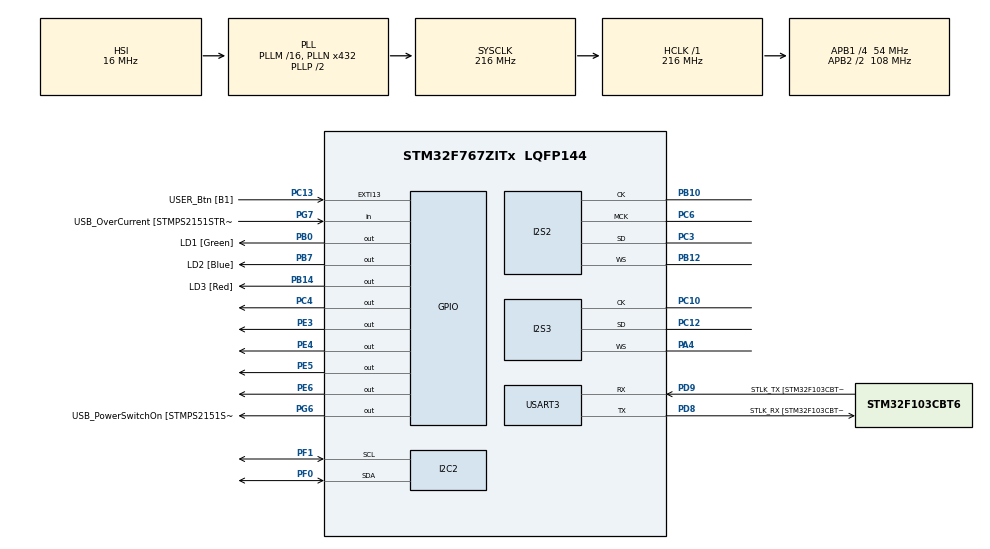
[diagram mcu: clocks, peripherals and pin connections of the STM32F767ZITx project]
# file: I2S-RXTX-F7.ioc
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Dma.Request0=SPI3_TX
Dma.Request1=SPI2_RX
Dma.SPI2_RX.1.Direction=DMA_PERIPH_TO_MEMORY
Dma.SPI2_RX.1.FIFOMode=DMA_FIFOMODE_DISABLE
Dma.SPI2_RX.1.Instance=DMA1_Stream1
Dma.SPI2_RX.1.MemDataAlignment=DMA_MDATAALIGN_HALFWORD
Dma.SPI2_RX.1.MemInc=DMA_MINC_ENABLE
Dma.SPI2_RX.1.Mode=DMA_CIRCULAR
Dma.SPI2_RX.1.PeriphDataAlignment=DMA_PDATAALIGN_HALFWORD
Dma.SPI2_RX.1.PeriphInc=DMA_PINC_DISABLE
Dma.SPI2_RX.1.Priority=DMA_PRIORITY_LOW
Dma.SPI3_TX.0.Direction=DMA_MEMORY_TO_PERIPH
Dma.SPI3_TX.0.FIFOMode=DMA_FIFOMODE_DISABLE
Dma.SPI3_TX.0.Instance=DMA1_Stream5
Dma.SPI3_TX.0.MemDataAlignment=DMA_MDATAALIGN_HALFWORD
Dma.SPI3_TX.0.MemInc=DMA_MINC_ENABLE
Dma.SPI3_TX.0.Mode=DMA_CIRCULAR
Dma.SPI3_TX.0.PeriphDataAlignment=DMA_PDATAALIGN_HALFWORD
Dma.SPI3_TX.0.PeriphInc=DMA_PINC_DISABLE
Dma.SPI3_TX.0.Priority=DMA_PRIORITY_LOW
I2C2.Timing=0x20404768
I2S2.AudioFreq=I2S_AUDIOFREQ_48K
I2S2.DataFormat=I2S_DATAFORMAT_24B
I2S2.ErrorAudioFreq=-0.01 %
I2S2.FullDuplexMode=I2S_FULLDUPLEXMODE_DISABLE
I2S2.Instance=SPI$Index
I2S2.Mode=I2S_MODE_MASTER_RX
I2S2.RealAudioFreq=47.991 KHz
I2S2.VirtualMode=I2S_MODE_MASTER
I2S3.AudioFreq=I2S_AUDIOFREQ_48K
I2S3.DataFormat=I2S_DATAFORMAT_24B
I2S3.ErrorAudioFreq=-0.01 %
I2S3.FullDuplexMode=I2S_FULLDUPLEXMODE_DISABLE
I2S3.Instance=SPI$Index
I2S3.RealAudioFreq=47.991 KHz
I2S3.VirtualMode=I2S_MODE_SLAVE
Mcu.Family=STM32F7
Mcu.Name=STM32F767ZITx
Mcu.Package=LQFP144
NVIC.DMA1_Stream1_IRQn=true\:0\:0\:false\:false\:true\:false\:true
NVIC.DMA1_Stream5_IRQn=true\:0\:0\:false\:false\:true\:false\:true
NVIC.EXTI15_10_IRQn=true\:0\:0\:false\:false\:true\:true\:true
NVIC.PriorityGroup=NVIC_PRIORITYGROUP_4
PA10.GPIO_Label=USB_ID
PA10.Signal=USB_OTG_FS_ID
PA11.GPIO_Label=USB_DM
PA11.Signal=USB_OTG_FS_DM
PA12.GPIO_Label=USB_DP
PA12.Signal=USB_OTG_FS_DP
PA13.GPIO_Label=TMS
PA13.Signal=SYS_JTMS-SWDIO
PA14.GPIO_Label=TCK
PA14.Signal=SYS_JTCK-SWCLK
PA4.Mode=Half_Duplex_Slave
PA4.Signal=I2S3_WS
PA8.GPIO_Label=USB_SOF [TP1]
PA8.Signal=USB_OTG_FS_SOF
PA9.GPIO_Label=USB_VBUS
PA9.Signal=USB_OTG_FS_VBUS
PB0.GPIO_Label=LD1 [Green]
PB0.Signal=GPIO_Output
PB10.Mode=Half_Duplex_Master
PB10.Signal=I2S2_CK
PB12.Mode=Half_Duplex_Master
PB12.Signal=I2S2_WS
PB14.GPIO_Label=LD3 [Red]
PB14.Signal=GPIO_Output
PB3.GPIO_Label=SW0
PB3.Signal=SYS_JTDO-SWO
PB7.GPIO_Label=LD2 [Blue]
PB7.Signal=GPIO_Output
PC10.Mode=Half_Duplex_Slave
PC10.Signal=I2S3_CK
PC12.Mode=Half_Duplex_Slave
PC12.Signal=I2S3_SD
PC13.GPIO_Label=USER_Btn [B1]
PC13.Signal=GPXTI13
PC14/OSC32_IN.Signal=RCC_OSC32_IN
PC15/OSC32_OUT.Signal=RCC_OSC32_OUT
PC3.Mode=Half_Duplex_Master
PC3.Signal=I2S2_SD
PC4.Signal=GPIO_Output
PC6.Mode=Master_Clock_Activated
PC6.Signal=I2S2_MCK
PD8.GPIO_Label=STLK_RX [STM32F103CBT6_PA3]
PD8.Mode=Asynchronous
PD8.Signal=USART3_TX
PD9.GPIO_Label=STLK_TX [STM32F103CBT6_PA2]
PD9.Mode=Asynchronous
PD9.Signal=USART3_RX
PE3.Signal=GPIO_Output
PE4.Signal=GPIO_Output
PE5.Signal=GPIO_Output
PE6.Signal=GPIO_Output
PF0.Mode=I2C
PF0.Signal=I2C2_SDA
PF1.Mode=I2C
PF1.Signal=I2C2_SCL
PG6.GPIO_Label=USB_PowerSwitchOn [STMPS2151STR_EN]
PG6.Signal=GPIO_Output
PG7.GPIO_Label=USB_OverCurrent [STMPS2151STR_FAULT]
PG7.Signal=GPIO_Input
PH0/OSC_IN.GPIO_Label=MCO [STM32F103CBT6_PA8]
PH0/OSC_IN.Signal=RCC_OSC_IN
PH1/OSC_OUT.Signal=RCC_OSC_OUT
ProjectManager.HeapSize=0x200
ProjectManager.StackSize=0x400
ProjectManager.TargetToolchain=STM32CubeIDE
RCC.48MHZClocksFreq_Value=24000000
RCC.AHBFreq_Value=216000000
RCC.APB1CLKDivider=RCC_HCLK_DIV4
RCC.APB1Freq_Value=54000000
RCC.APB1TimFreq_Value=108000000
RCC.APB2CLKDivider=RCC_HCLK_DIV2
RCC.APB2Freq_Value=108000000
RCC.APB2TimFreq_Value=216000000
RCC.CortexFreq_Value=216000000
RCC.HCLKFreq_Value=216000000
RCC.HSE_VALUE=16000000
RCC.HSI_VALUE=16000000
RCC.LSE_VALUE=32768
RCC.PLLI2SN=430
RCC.PLLI2SR=7
RCC.PLLMUL=RCC_PLL_MUL9
RCC.PLLN=432
RCC.PRESCALERUSB=RCC_USBCLKSOURCE_PLL_DIV1_5
RCC.SYSCLKFreq_VALUE=216000000
RCC.SYSCLKSource=RCC_SYSCLKSOURCE_PLLCLK
RCC.SYSCLKSourceVirtual=RCC_SYSCLKSOURCE_PLLCLK
RCC.USBFreq_Value=216000000
RCC.VCOOutputFreq_Value=432000000
USART3.VirtualMode-Asynchronous=VM_ASYNC
board=NUCLEO-F767ZI

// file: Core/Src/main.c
/* USER CODE BEGIN Header */
/**
  ******************************************************************************
  * @file           : main.c
  * @brief          : Main program body
  ******************************************************************************
  * @attention
  *
  * <h2><center>&copy; Copyright (c) 2020 STMicroelectronics.
  * All rights reserved.</center></h2>
  *
  * This software component is licensed by ST under BSD 3-Clause license,
  * the "License"; You may not use this file except in compliance with the
  * License. You may obtain a copy of the License at:
  *                        opensource.org/licenses/BSD-3-Clause
  *
  ******************************************************************************
  */
/* USER CODE END Header */

#include "main.h"

/* USER CODE BEGIN Includes */
#include "coeffs.h"
#include <arm_math.h>
#include <string.h>
#include <stdio.h>

/* USER CODE END Includes */

I2C_HandleTypeDef hi2c2;

I2S_HandleTypeDef hi2s2;
I2S_HandleTypeDef hi2s3;
DMA_HandleTypeDef hdma_spi2_rx;
DMA_HandleTypeDef hdma_spi3_tx;

UART_HandleTypeDef huart3;

/* USER CODE BEGIN PV */

// Sample size
#define SAMPLES			512				// Total number of samples left and right
#define	BUF_SAMPLES		SAMPLES * 4		// Size of DMA tx/rx buffer samples * left/right * 2 for 32 bit samples

// Variables that keep the state of the DMA TX/RX completion
volatile int rxHalfComplete = 0;
volatile int txHalfComplete = 0;
volatile int rxFullComplete = 0;
volatile int txFullComplete = 0;

// Delay Line
#define	DELAY_BUF	20000
float32_t	delayLeft[DELAY_BUF];
float32_t	delayRight[DELAY_BUF];
volatile int delayPtr = 0;
volatile int t = 0;

// DMA Buffers
uint16_t rxBuf[BUF_SAMPLES];
uint16_t txBuf[BUF_SAMPLES];

// DSP Processing buffers for src/dest and left/right. Only
// need half the SAMPLE size as we will only be processing half the SAMPLE
// block at any point in time

float32_t	*coeffsLeft;
float32_t	*coeffsRight;
float32_t	stateLeft[SAMPLES/2 + NUM_TAPS - 1];
float32_t	stateRight[SAMPLES/2 + NUM_TAPS - 1];

float32_t	srcLeft[SAMPLES/2];
float32_t	srcRight[SAMPLES/2];
float32_t	destLeft[SAMPLES/2];
float32_t	destRight[SAMPLES/2];

arm_status stat;
arm_fir_instance_f32 arm_inst_left;
arm_fir_instance_f32 arm_inst_right;

void setupSynth( I2C_HandleTypeDef* );

volatile int mode = 0;

void doEffect(int m);
void doPassthru( int m );
void doEcho( int m );
void doMultiEcho( int m );
void doPhase( int m );
void doFlange( int m );

void doEffect( int m )
{
	if ( mode == 0 )
		doPassthru(m);
	else if ( mode == 1 )
		doEcho(m);
	else if ( mode == 2 )
		doPhase(m);
	else if ( mode == 3 )
		doMultiEcho(m);
	else
		doFlange(m);
}

void printUART( char* s )
{
	HAL_UART_Transmit(&huart3, (uint8_t *)s, strlen(s), HAL_MAX_DELAY );
}

void printMode()
{
	if ( mode == 0 )
		printUART( "Mode: Passthru\r\n");
	else if ( mode == 1 )
		printUART( "Mode: Echo\r\n");
	else if ( mode == 2 )
		printUART( "Mode: Phase\r\n");
	else if ( mode == 3 )
		printUART( "Mode: Multi-Echo\r\n");
	else
		printUART( "Mode: Flange\r\n");
}

/* USER CODE END PV */

void SystemClock_Config(void);
static void MX_GPIO_Init(void);
static void MX_DMA_Init(void);
static void MX_I2S2_Init(void);
static void MX_I2S3_Init(void);
static void MX_USART3_UART_Init(void);
static void MX_I2C2_Init(void);

int main(void)
{
  /* USER CODE BEGIN 1 */
  //populateTxBuf();

  /* USER CODE END 1 */

  /* MCU Configuration--------------------------------------------------------*/

  /* Reset of all peripherals, Initializes the Flash interface and the Systick. */
  HAL_Init();

  /* Configure the system clock */
  SystemClock_Config();

  /* Initialize all configured peripherals */
  MX_GPIO_Init();
  MX_DMA_Init();
  MX_I2S2_Init();
  MX_I2S3_Init();
  MX_USART3_UART_Init();
  MX_I2C2_Init();

  /* Infinite loop */
  /* USER CODE BEGIN WHILE */

  printUART("\r\nBeginning Processing\r\n");
  printMode();

  setupSynth( &hi2c2 );

  coeffsLeft = plus45Coeffs;
  coeffsRight = minus45Coeffs;

  arm_fir_init_f32(
		  &arm_inst_left,
		  NUM_TAPS,
		  coeffsLeft,
		  &stateLeft[0],
		  SAMPLES/2
  );

  arm_fir_init_f32(
		  &arm_inst_right,
		  NUM_TAPS,
		  coeffsRight,
		  &stateRight[0],
		  SAMPLES/2
  );

  HAL_I2S_Transmit_DMA(&hi2s3, txBuf, SAMPLES*2 );
  HAL_I2S_Receive_DMA(&hi2s2, rxBuf, SAMPLES*2 );

  int lastMode = mode;
  while (1)
  {
	  if ( lastMode != mode )
	  {
		  lastMode = mode;
		  printMode();
	  }

	  if ( rxHalfComplete && txHalfComplete )
	  {
		  doEffect(0);
		  rxHalfComplete = 0;
		  txHalfComplete = 0;
	  }

	  else if ( rxFullComplete && txFullComplete )
	  {
		  doEffect(1);
		  rxFullComplete = 0;
		  txFullComplete = 0;
	  }

    /* USER CODE END WHILE */

  }
}

void SystemClock_Config(void)
{
  RCC_OscInitTypeDef RCC_OscInitStruct = {0};
  RCC_ClkInitTypeDef RCC_ClkInitStruct = {0};
  RCC_PeriphCLKInitTypeDef PeriphClkInitStruct = {0};

  /** Configure the main internal regulator output voltage
  */
  __HAL_RCC_PWR_CLK_ENABLE();
  __HAL_PWR_VOLTAGESCALING_CONFIG(PWR_REGULATOR_VOLTAGE_SCALE1);
  /** Initializes the CPU, AHB and APB busses clocks
  */
  RCC_OscInitStruct.OscillatorType = RCC_OSCILLATORTYPE_HSI;
  RCC_OscInitStruct.HSIState = RCC_HSI_ON;
  RCC_OscInitStruct.HSICalibrationValue = RCC_HSICALIBRATION_DEFAULT;
  RCC_OscInitStruct.PLL.PLLState = RCC_PLL_ON;
  RCC_OscInitStruct.PLL.PLLSource = RCC_PLLSOURCE_HSI;
  RCC_OscInitStruct.PLL.PLLM = 16;
  RCC_OscInitStruct.PLL.PLLN = 432;
  RCC_OscInitStruct.PLL.PLLP = RCC_PLLP_DIV2;
  RCC_OscInitStruct.PLL.PLLQ = 2;
  if (HAL_RCC_OscConfig(&RCC_OscInitStruct) != HAL_OK)
  {
    Error_Handler();
  }
  /** Activate the Over-Drive mode
  */
  if (HAL_PWREx_EnableOverDrive() != HAL_OK)
  {
    Error_Handler();
  }
  /** Initializes the CPU, AHB and APB busses clocks
  */
  RCC_ClkInitStruct.ClockType = RCC_CLOCKTYPE_HCLK|RCC_CLOCKTYPE_SYSCLK
                              |RCC_CLOCKTYPE_PCLK1|RCC_CLOCKTYPE_PCLK2;
  RCC_ClkInitStruct.SYSCLKSource = RCC_SYSCLKSOURCE_PLLCLK;
  RCC_ClkInitStruct.AHBCLKDivider = RCC_SYSCLK_DIV1;
  RCC_ClkInitStruct.APB1CLKDivider = RCC_HCLK_DIV4;
  RCC_ClkInitStruct.APB2CLKDivider = RCC_HCLK_DIV2;

  if (HAL_RCC_ClockConfig(&RCC_ClkInitStruct, FLASH_LATENCY_7) != HAL_OK)
  {
    Error_Handler();
  }
  PeriphClkInitStruct.PeriphClockSelection = RCC_PERIPHCLK_USART3|RCC_PERIPHCLK_I2C2
                              |RCC_PERIPHCLK_I2S;
  PeriphClkInitStruct.PLLI2S.PLLI2SN = 430;
  PeriphClkInitStruct.PLLI2S.PLLI2SP = RCC_PLLP_DIV2;
  PeriphClkInitStruct.PLLI2S.PLLI2SR = 7;
  PeriphClkInitStruct.PLLI2S.PLLI2SQ = 2;
  PeriphClkInitStruct.PLLI2SDivQ = 1;
  PeriphClkInitStruct.I2sClockSelection = RCC_I2SCLKSOURCE_PLLI2S;
  PeriphClkInitStruct.Usart3ClockSelection = RCC_USART3CLKSOURCE_PCLK1;
  PeriphClkInitStruct.I2c2ClockSelection = RCC_I2C2CLKSOURCE_PCLK1;
  if (HAL_RCCEx_PeriphCLKConfig(&PeriphClkInitStruct) != HAL_OK)
  {
    Error_Handler();
  }
}

static void MX_I2C2_Init(void)
{

  hi2c2.Instance = I2C2;
  hi2c2.Init.Timing = 0x20404768;
  hi2c2.Init.OwnAddress1 = 0;
  hi2c2.Init.AddressingMode = I2C_ADDRESSINGMODE_7BIT;
  hi2c2.Init.DualAddressMode = I2C_DUALADDRESS_DISABLE;
  hi2c2.Init.OwnAddress2 = 0;
  hi2c2.Init.OwnAddress2Masks = I2C_OA2_NOMASK;
  hi2c2.Init.GeneralCallMode = I2C_GENERALCALL_DISABLE;
  hi2c2.Init.NoStretchMode = I2C_NOSTRETCH_DISABLE;
  if (HAL_I2C_Init(&hi2c2) != HAL_OK)
  {
    Error_Handler();
  }
  /** Configure Analogue filter
  */
  if (HAL_I2CEx_ConfigAnalogFilter(&hi2c2, I2C_ANALOGFILTER_ENABLE) != HAL_OK)
  {
    Error_Handler();
  }
  /** Configure Digital filter
  */
  if (HAL_I2CEx_ConfigDigitalFilter(&hi2c2, 0) != HAL_OK)
  {
    Error_Handler();
  }

}

static void MX_I2S2_Init(void)
{

  hi2s2.Instance = SPI2;
  hi2s2.Init.Mode = I2S_MODE_MASTER_RX;
  hi2s2.Init.Standard = I2S_STANDARD_PHILIPS;
  hi2s2.Init.DataFormat = I2S_DATAFORMAT_24B;
  hi2s2.Init.MCLKOutput = I2S_MCLKOUTPUT_ENABLE;
  hi2s2.Init.AudioFreq = I2S_AUDIOFREQ_48K;
  hi2s2.Init.CPOL = I2S_CPOL_LOW;
  hi2s2.Init.ClockSource = I2S_CLOCK_PLL;
  if (HAL_I2S_Init(&hi2s2) != HAL_OK)
  {
    Error_Handler();
  }

}

static void MX_I2S3_Init(void)
{

  hi2s3.Instance = SPI3;
  hi2s3.Init.Mode = I2S_MODE_SLAVE_TX;
  hi2s3.Init.Standard = I2S_STANDARD_PHILIPS;
  hi2s3.Init.DataFormat = I2S_DATAFORMAT_24B;
  hi2s3.Init.MCLKOutput = I2S_MCLKOUTPUT_DISABLE;
  hi2s3.Init.AudioFreq = I2S_AUDIOFREQ_48K;
  hi2s3.Init.CPOL = I2S_CPOL_LOW;
  hi2s3.Init.ClockSource = I2S_CLOCK_PLL;
  if (HAL_I2S_Init(&hi2s3) != HAL_OK)
  {
    Error_Handler();
  }

}

static void MX_USART3_UART_Init(void)
{

  huart3.Instance = USART3;
  huart3.Init.BaudRate = 115200;
  huart3.Init.WordLength = UART_WORDLENGTH_8B;
  huart3.Init.StopBits = UART_STOPBITS_1;
  huart3.Init.Parity = UART_PARITY_NONE;
  huart3.Init.Mode = UART_MODE_TX_RX;
  huart3.Init.HwFlowCtl = UART_HWCONTROL_NONE;
  huart3.Init.OverSampling = UART_OVERSAMPLING_16;
  huart3.Init.OneBitSampling = UART_ONE_BIT_SAMPLE_DISABLE;
  huart3.AdvancedInit.AdvFeatureInit = UART_ADVFEATURE_NO_INIT;
  if (HAL_UART_Init(&huart3) != HAL_OK)
  {
    Error_Handler();
  }

}

static void MX_DMA_Init(void)
{

  /* DMA controller clock enable */
  __HAL_RCC_DMA1_CLK_ENABLE();

  /* DMA interrupt init */
  /* DMA1_Stream1_IRQn interrupt configuration */
  HAL_NVIC_SetPriority(DMA1_Stream1_IRQn, 0, 0);
  HAL_NVIC_EnableIRQ(DMA1_Stream1_IRQn);
  /* DMA1_Stream5_IRQn interrupt configuration */
  HAL_NVIC_SetPriority(DMA1_Stream5_IRQn, 0, 0);
  HAL_NVIC_EnableIRQ(DMA1_Stream5_IRQn);

}

static void MX_GPIO_Init(void)
{
  GPIO_InitTypeDef GPIO_InitStruct = {0};

  /* GPIO Ports Clock Enable */
  __HAL_RCC_GPIOE_CLK_ENABLE();
  __HAL_RCC_GPIOC_CLK_ENABLE();
  __HAL_RCC_GPIOF_CLK_ENABLE();
  __HAL_RCC_GPIOH_CLK_ENABLE();
  __HAL_RCC_GPIOA_CLK_ENABLE();
  __HAL_RCC_GPIOB_CLK_ENABLE();
  __HAL_RCC_GPIOD_CLK_ENABLE();
  __HAL_RCC_GPIOG_CLK_ENABLE();

  /*Configure GPIO pin Output Level */
  HAL_GPIO_WritePin(GPIOE, GPIO_PIN_4|GPIO_PIN_5, GPIO_PIN_RESET);

  /*Configure GPIO pin Output Level */
  HAL_GPIO_WritePin(GPIOC, GPIO_PIN_4, GPIO_PIN_RESET);

  /*Configure GPIO pin Output Level */
  HAL_GPIO_WritePin(GPIOB, LD1_Pin|LD3_Pin|LD2_Pin, GPIO_PIN_RESET);

  /*Configure GPIO pin Output Level */
  HAL_GPIO_WritePin(USB_PowerSwitchOn_GPIO_Port, USB_PowerSwitchOn_Pin, GPIO_PIN_RESET);

  /*Configure GPIO pins : PE4 PE5 */
  GPIO_InitStruct.Pin = GPIO_PIN_4|GPIO_PIN_5;
  GPIO_InitStruct.Mode = GPIO_MODE_OUTPUT_PP;
  GPIO_InitStruct.Pull = GPIO_NOPULL;
  GPIO_InitStruct.Speed = GPIO_SPEED_FREQ_LOW;
  HAL_GPIO_Init(GPIOE, &GPIO_InitStruct);

  /*Configure GPIO pin : USER_Btn_Pin */
  GPIO_InitStruct.Pin = USER_Btn_Pin;
  GPIO_InitStruct.Mode = GPIO_MODE_IT_RISING;
  GPIO_InitStruct.Pull = GPIO_NOPULL;
  HAL_GPIO_Init(USER_Btn_GPIO_Port, &GPIO_InitStruct);

  /*Configure GPIO pin : PC4 */
  GPIO_InitStruct.Pin = GPIO_PIN_4;
  GPIO_InitStruct.Mode = GPIO_MODE_OUTPUT_PP;
  GPIO_InitStruct.Pull = GPIO_NOPULL;
  GPIO_InitStruct.Speed = GPIO_SPEED_FREQ_LOW;
  HAL_GPIO_Init(GPIOC, &GPIO_InitStruct);

  /*Configure GPIO pins : LD1_Pin LD3_Pin LD2_Pin */
  GPIO_InitStruct.Pin = LD1_Pin|LD3_Pin|LD2_Pin;
  GPIO_InitStruct.Mode = GPIO_MODE_OUTPUT_PP;
  GPIO_InitStruct.Pull = GPIO_NOPULL;
  GPIO_InitStruct.Speed = GPIO_SPEED_FREQ_LOW;
  HAL_GPIO_Init(GPIOB, &GPIO_InitStruct);

  /*Configure GPIO pin : USB_PowerSwitchOn_Pin */
  GPIO_InitStruct.Pin = USB_PowerSwitchOn_Pin;
  GPIO_InitStruct.Mode = GPIO_MODE_OUTPUT_PP;
  GPIO_InitStruct.Pull = GPIO_NOPULL;
  GPIO_InitStruct.Speed = GPIO_SPEED_FREQ_LOW;
  HAL_GPIO_Init(USB_PowerSwitchOn_GPIO_Port, &GPIO_InitStruct);

  /*Configure GPIO pin : USB_OverCurrent_Pin */
  GPIO_InitStruct.Pin = USB_OverCurrent_Pin;
  GPIO_InitStruct.Mode = GPIO_MODE_INPUT;
  GPIO_InitStruct.Pull = GPIO_NOPULL;
  HAL_GPIO_Init(USB_OverCurrent_GPIO_Port, &GPIO_InitStruct);

  /*Configure GPIO pins : USB_SOF_Pin USB_ID_Pin USB_DM_Pin USB_DP_Pin */
  GPIO_InitStruct.Pin = USB_SOF_Pin|USB_ID_Pin|USB_DM_Pin|USB_DP_Pin;
  GPIO_InitStruct.Mode = GPIO_MODE_AF_PP;
  GPIO_InitStruct.Pull = GPIO_NOPULL;
  GPIO_InitStruct.Speed = GPIO_SPEED_FREQ_VERY_HIGH;
  GPIO_InitStruct.Alternate = GPIO_AF10_OTG_FS;
  HAL_GPIO_Init(GPIOA, &GPIO_InitStruct);

  /*Configure GPIO pin : USB_VBUS_Pin */
  GPIO_InitStruct.Pin = USB_VBUS_Pin;
  GPIO_InitStruct.Mode = GPIO_MODE_INPUT;
  GPIO_InitStruct.Pull = GPIO_NOPULL;
  HAL_GPIO_Init(USB_VBUS_GPIO_Port, &GPIO_InitStruct);

  /* EXTI interrupt init*/
  HAL_NVIC_SetPriority(EXTI15_10_IRQn, 0, 0);
  HAL_NVIC_EnableIRQ(EXTI15_10_IRQn);

}

/* USER CODE BEGIN 4 */

//
// Either tx/rx Full or Half complete.
// b == 0
//		First Half
// b == 1
//		Second Half
//

void doPassthru( int b )
{
	int startBuf = b * BUF_SAMPLES / 2;
	int endBuf = startBuf + BUF_SAMPLES / 2;

	int i = 0;
	for ( int pos = startBuf ; pos < endBuf ; pos+=4 )
	{
		  srcLeft[i] = ( (rxBuf[pos]<<16)|rxBuf[pos+1] );
		  srcRight[i] = ( (rxBuf[pos+2]<<16)|rxBuf[pos+3] );
		  i++;
	}

	i = 0;
	for ( int pos = startBuf ; pos < endBuf ; pos+=4 )
	  {
		  int lval = srcLeft[i];
		  int rval = srcRight[i];

		  txBuf[pos] = (lval>>16)&0xFFFF;
		  txBuf[pos+1] = lval&0xFFFF;
		  txBuf[pos+2] = (rval>>16)&0xFFFF;
		  txBuf[pos+3] = rval&0xFFFF;

		  i++;
	  }

}

void doEcho( int b )
{
	int startBuf = b * BUF_SAMPLES / 2;
	int endBuf = startBuf + BUF_SAMPLES / 2;

	int i = 0;
	for ( int pos = startBuf ; pos < endBuf ; pos+=4 )
	{
		  srcLeft[i] = ( (rxBuf[pos]<<16)|rxBuf[pos+1] );
		  srcRight[i] = ( (rxBuf[pos+2]<<16)|rxBuf[pos+3] );
		  i++;
	}

	i = 0;
	float32_t delayGain = 0.5;

	for ( int pos = startBuf ; pos < endBuf ; pos+=4 )
	  {
		  int lval = srcLeft[i] + delayGain * delayLeft[delayPtr];
		  int rval = srcRight[i] + delayGain * delayRight[delayPtr];

		  // Single Echo
		  delayLeft[delayPtr] = srcLeft[i];
		  delayRight[delayPtr] = srcRight[i];

		  delayPtr = (delayPtr+1) % DELAY_BUF;

		  txBuf[pos] = (lval>>16)&0xFFFF;
		  txBuf[pos+1] = lval&0xFFFF;
		  txBuf[pos+2] = (rval>>16)&0xFFFF;
		  txBuf[pos+3] = rval&0xFFFF;

		  i++;
	  }

}

void doMultiEcho( int b )
{
	int startBuf = b * BUF_SAMPLES / 2;
	int endBuf = startBuf + BUF_SAMPLES / 2;

	int i = 0;
	for ( int pos = startBuf ; pos < endBuf ; pos+=4 )
	{
		  srcLeft[i] = ( (rxBuf[pos]<<16)|rxBuf[pos+1] );
		  srcRight[i] = ( (rxBuf[pos+2]<<16)|rxBuf[pos+3] );
		  i++;
	}

	i = 0;
	float32_t delayGain = 0.5;

	for ( int pos = startBuf ; pos < endBuf ; pos+=4 )
	  {
		  int lval = srcLeft[i] + delayGain * delayLeft[delayPtr];
		  int rval = srcRight[i] + delayGain * delayRight[delayPtr];

		  // Fading Echo
		  delayLeft[delayPtr] = lval;
		  delayRight[delayPtr] = rval;

		  delayPtr = (delayPtr+1) % DELAY_BUF;

		  txBuf[pos] = (lval>>16)&0xFFFF;
		  txBuf[pos+1] = lval&0xFFFF;
		  txBuf[pos+2] = (rval>>16)&0xFFFF;
		  txBuf[pos+3] = rval&0xFFFF;

		  i++;
	  }

}

void doFlange( int b )
{
	int startBuf = b * BUF_SAMPLES / 2;
	int endBuf = startBuf + BUF_SAMPLES / 2;

	int i = 0;
	for ( int pos = startBuf ; pos < endBuf ; pos+=4 )
	{
		  srcLeft[i] = ( (rxBuf[pos]<<16)|rxBuf[pos+1] );
		  srcRight[i] = ( (rxBuf[pos+2]<<16)|rxBuf[pos+3] );
		  i++;
	}

	i = 0;
	float32_t delayGain = 0.9;
	float32_t meanDelay = 50;
	float32_t modulationMagnitude = 40;

	for ( int pos = startBuf ; pos < endBuf ; pos+=4 )
	  {
		  int flangeCnt = (int) ( meanDelay + modulationMagnitude * arm_sin_f32( 2 * PI / 48000.0 / 10 * t ) );
		  flangeCnt = ( delayPtr + DELAY_BUF - flangeCnt ) % DELAY_BUF;

		  int lval = srcLeft[i] + delayGain * delayLeft[flangeCnt];
		  int rval = srcRight[i] + delayGain * delayRight[flangeCnt];

		  // Single Echo
		  delayLeft[delayPtr] = srcLeft[i];
		  delayRight[delayPtr] = srcRight[i];

		  delayPtr = (delayPtr+1) % DELAY_BUF;

		  txBuf[pos] = (lval>>16)&0xFFFF;
		  txBuf[pos+1] = lval&0xFFFF;
		  txBuf[pos+2] = (rval>>16)&0xFFFF;
		  txBuf[pos+3] = rval&0xFFFF;

		  i++;
		  t++;
	  }

}

void doPhase( int b )
{
	int startBuf = b * BUF_SAMPLES / 2;
	int endBuf = startBuf + BUF_SAMPLES / 2;

    HAL_GPIO_WritePin( GPIOE, GPIO_PIN_5, GPIO_PIN_SET );

	int i = 0;
	for ( int pos = startBuf ; pos < endBuf ; pos+=4 )
	{
		  srcLeft[i] = ( (rxBuf[pos]<<16)|rxBuf[pos+1] );
		  srcRight[i] = ( (rxBuf[pos+2]<<16)|rxBuf[pos+3] );

		  i++;
	}

    HAL_GPIO_WritePin( GPIOE, GPIO_PIN_4, GPIO_PIN_SET );

	arm_fir_f32	(
			&arm_inst_left,
			srcLeft,
			destLeft,
			SAMPLES/2
	);

	arm_fir_f32	(
			&arm_inst_right,
			srcLeft,
			destRight,
			SAMPLES/2
	);

    HAL_GPIO_WritePin( GPIOE, GPIO_PIN_4, GPIO_PIN_RESET );

	i = 0;
	for ( int pos = startBuf ; pos < endBuf ; pos+=4 )
	  {
		  int lval = destLeft[i];
		  int rval = destRight[i];

		  txBuf[pos] = (lval>>16)&0xFFFF;
		  txBuf[pos+1] = lval&0xFFFF;
		  txBuf[pos+2] = (rval>>16)&0xFFFF;
		  txBuf[pos+3] = rval&0xFFFF;

		  i++;
	  }

    HAL_GPIO_WritePin( GPIOE, GPIO_PIN_5, GPIO_PIN_RESET );

}

void HAL_I2S_TxCpltCallback(I2S_HandleTypeDef *hi2s)
{
	UNUSED(hi2s);
	txFullComplete = 1;
}

void HAL_I2S_RxCpltCallback(I2S_HandleTypeDef *hi2s)
{
    UNUSED(hi2s);
	rxFullComplete = 1;
}

void HAL_I2S_TxHalfCpltCallback(I2S_HandleTypeDef *hi2s)
{
	UNUSED(hi2s);
	txHalfComplete = 1;
}

void HAL_I2S_RxHalfCpltCallback(I2S_HandleTypeDef *hi2s)
{
    UNUSED(hi2s);
	rxHalfComplete = 1;
}

void HAL_GPIO_EXTI_Callback(uint16_t GPIO_Pin)
{
	  /* Prevent unused argument(s) compilation warning */
	  UNUSED(GPIO_Pin);
	  mode = (mode+1) % 5;
}

void changeSideband()
{

  // Swap upper/lower sideband
  if ( coeffsLeft == plus45Coeffs )
  {
	  coeffsLeft = minus45Coeffs;
	  coeffsRight = plus45Coeffs;
  }
  else
  {
	  coeffsRight = minus45Coeffs;
	  coeffsLeft = plus45Coeffs;
  }

	  arm_fir_init_f32(
			  &arm_inst_left,
			  NUM_TAPS,
			  coeffsLeft,
			  &stateLeft[0],
			  SAMPLES/2
	  );

	  arm_fir_init_f32(
			  &arm_inst_right,
			  NUM_TAPS,
			  coeffsRight,
			  &stateRight[0],
			  SAMPLES/2
	  );
}

/* USER CODE END 4 */

void Error_Handler(void)
{
}

/************************ (C) COPYRIGHT STMicroelectronics *****END OF FILE****/
